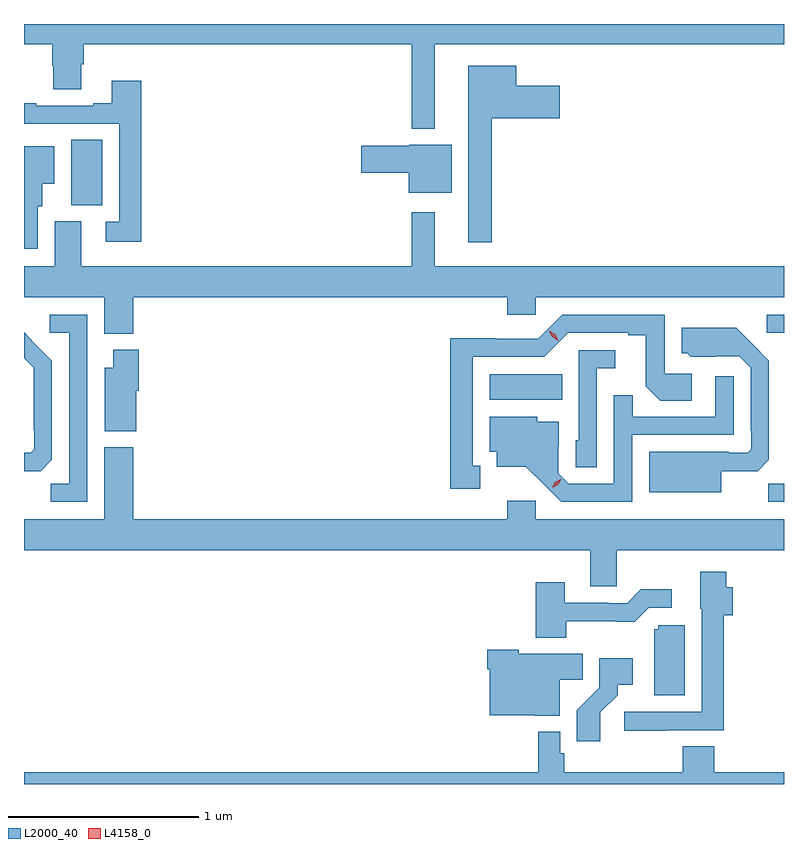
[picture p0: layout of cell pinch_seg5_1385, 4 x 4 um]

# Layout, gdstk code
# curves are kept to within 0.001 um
import gdstk
lib = gdstk.Library(unit=1e-6, precision=1e-09)
def R(c, l, rs):  # rectangles x0, y0, x1, y1
    for r in rs: c.add(gdstk.rectangle(r[:2], r[2:], *l))
def P(c, l, *ps):  # polygons
    for p in ps: c.add(gdstk.Polygon(p, *l))
L2000_40 = (2000, 40)
L4158_0 = (4158, 0)

pinch_seg5_1385 = lib.new_cell('pinch_seg5_1385')
R(pinch_seg5_1385, L2000_40, [(163.036,903.636,163.12,903.731), (161.57,904.172,161.954,904.306), (163.029,904.524,163.12,904.62), (159.368,905.197,159.532,905.54)])
P(pinch_seg5_1385, L2000_40, [(161.281,906.044),(163.12,906.044),(163.12,906.15),(159.12,906.15),(159.12,906.044),(159.269,906.044),(159.269,905.931),(159.274,905.931),(159.274,905.806),(159.421,905.806),(159.421,905.938),(159.434,905.938),(159.434,906.044),(161.16,906.044),(161.16,905.6),(161.281,905.6)],
  [(161.581,905.654),(161.941,905.654),(161.941,905.824),(161.71,905.824),(161.71,905.929),(161.459,905.929),(161.459,905.001),(161.581,905.001)],
  [(159.737,905.851),(159.581,905.851),(159.581,905.734),(159.485,905.734),(159.485,905.721),(159.185,905.721),(159.185,905.734),(159.12,905.734),(159.12,905.625),(159.621,905.625),(159.621,905.109),(159.549,905.109),(159.549,905.004),(159.737,905.004)],
  [(161.371,905.515),(161.148,905.515),(161.148,905.51),(160.896,905.51),(160.896,905.368),(161.144,905.368),(161.144,905.261),(161.371,905.261)],
  [(159.192,905.19),(159.217,905.19),(159.217,905.309),(159.28,905.309),(159.28,905.506),(159.12,905.506),(159.12,904.968),(159.192,904.968)],
  [(159.695,904.712),(161.663,904.712),(161.663,904.619),(161.814,904.619),(161.814,904.712),(163.12,904.712),(163.12,904.876),(161.281,904.876),(161.281,905.158),(161.16,905.158),(161.16,904.876),(159.421,904.876),(159.421,905.112),(159.281,905.112),(159.281,904.876),(159.12,904.876),(159.12,904.712),(159.542,904.712),(159.542,904.52),(159.695,904.52)],
  [(159.453,904.62),(159.255,904.62),(159.255,904.524),(159.357,904.524),(159.357,903.731),(159.262,903.731),(159.262,903.636),(159.453,903.636)],
  [(161.521,903.825),(161.482,903.825),(161.482,904.398),(161.859,904.398),(161.985,904.524),(162.299,904.524),(162.299,904.512),(162.393,904.512),(162.393,904.244),(162.469,904.168),(162.634,904.168),(162.634,904.308),(162.492,904.308),(162.492,904.62),(161.952,904.62),(161.826,904.494),(161.604,904.494),(161.604,904.496),(161.364,904.496),(161.364,903.705),(161.521,903.705)],
  [(162.79,903.797),(162.982,903.797),(163.041,903.856),(163.041,904.378),(162.869,904.552),(162.581,904.552),(162.581,904.416),(162.612,904.416),(162.628,904.4),(162.885,904.401),(162.945,904.341),(162.945,904.012),(162.948,904.012),(162.948,903.912),(162.93,903.894),(162.83,903.894),(162.83,903.898),(162.41,903.898),(162.41,903.686),(162.79,903.686)],
  [(159.267,903.856),(159.267,904.378),(159.12,904.527),(159.12,904.392),(159.171,904.341),(159.171,904.012),(159.174,904.012),(159.174,903.912),(159.156,903.894),(159.12,903.894),(159.12,903.797),(159.208,903.797)],
  [(159.712,904.221),(159.725,904.221),(159.725,904.435),(159.59,904.435),(159.59,904.342),(159.545,904.342),(159.545,904.007),(159.712,904.007)],
  [(162.135,904.337),(162.232,904.337),(162.232,904.434),(162.039,904.434),(162.039,903.96),(162.024,903.96),(162.024,903.817),(162.135,903.817)],
  [(162.321,903.987),(162.855,903.987),(162.855,904.297),(162.759,904.297),(162.759,904.083),(162.323,904.083),(162.323,904.196),(162.225,904.196),(162.225,903.729),(161.988,903.729),(161.931,903.786),(161.931,903.928),(161.935,903.928),(161.935,904.057),(161.82,904.057),(161.82,904.084),(161.57,904.084),(161.57,903.9),(161.609,903.9),(161.609,903.821),(161.761,903.821),(161.948,903.636),(162.321,903.636)],
  [(162.24,903.38),(163.12,903.38),(163.12,903.544),(161.814,903.544),(161.814,903.64),(161.663,903.64),(161.663,903.544),(159.695,903.544),(159.695,903.922),(159.542,903.922),(159.542,903.544),(159.12,903.544),(159.12,903.38),(162.101,903.38),(162.101,903.19),(162.24,903.19)],
  [(162.503,902.433),(162.803,902.433),(162.803,903.038),(162.851,903.038),(162.851,903.186),(162.816,903.186),(162.816,903.268),(162.68,903.268),(162.68,903.072),(162.687,903.072),(162.687,902.529),(162.279,902.529),(162.279,902.431),(162.503,902.431)],
  [(161.973,903.006),(162.335,903.005),(162.408,903.078),(162.529,903.078),(162.529,903.175),(162.367,903.175),(162.294,903.102),(162.194,903.102),(162.194,903.105),(161.965,903.105),(161.965,903.211),(161.813,903.211),(161.813,902.921),(161.973,902.921)],
  [(162.598,902.985),(162.459,902.985),(162.459,902.964),(162.437,902.964),(162.437,902.616),(162.598,902.616)],
  [(161.941,902.698),(162.062,902.698),(162.062,902.836),(161.724,902.836),(161.724,902.857),(161.558,902.857),(161.558,902.753),(161.57,902.753),(161.57,902.513),(161.808,902.513),(161.808,902.51),(161.941,902.51)],
  [(162.154,902.527),(162.244,902.617),(162.244,902.672),(162.325,902.672),(162.325,902.812),(162.147,902.812),(162.147,902.657),(162.028,902.538),(162.028,902.376),(162.154,902.376)],
  [(163.12,902.212),(162.752,902.212),(162.752,902.348),(162.587,902.348),(162.587,902.212),(161.963,902.212),(161.963,902.313),(161.943,902.313),(161.943,902.425),(161.827,902.425),(161.827,902.212),(159.12,902.212),(159.12,902.15),(163.12,902.15)])
P(pinch_seg5_1385, L4158_0, [(161.899,903.708),(161.899,903.708),(161.916,903.738),(161.946,903.754),(161.947,903.754),(161.947,903.754),(161.93,903.724),(161.899,903.708)],
  [(161.932,904.484),(161.9,904.503),(161.883,904.536),(161.883,904.536),(161.883,904.536),(161.915,904.517),(161.932,904.485),(161.932,904.484)])

lib.write_gds('pinch_seg5_1385.gds')
